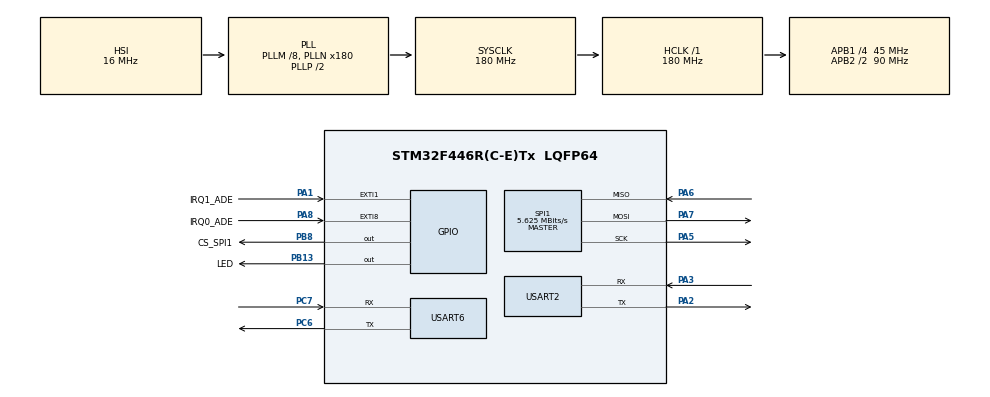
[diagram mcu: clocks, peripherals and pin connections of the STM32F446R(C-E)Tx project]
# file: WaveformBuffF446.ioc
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Dma.Request0=SPI1_RX
Dma.Request1=SPI1_TX
Dma.SPI1_RX.0.Direction=DMA_PERIPH_TO_MEMORY
Dma.SPI1_RX.0.FIFOMode=DMA_FIFOMODE_DISABLE
Dma.SPI1_RX.0.Instance=DMA2_Stream0
Dma.SPI1_RX.0.MemDataAlignment=DMA_MDATAALIGN_HALFWORD
Dma.SPI1_RX.0.MemInc=DMA_MINC_ENABLE
Dma.SPI1_RX.0.Mode=DMA_NORMAL
Dma.SPI1_RX.0.PeriphDataAlignment=DMA_PDATAALIGN_HALFWORD
Dma.SPI1_RX.0.PeriphInc=DMA_PINC_DISABLE
Dma.SPI1_RX.0.Priority=DMA_PRIORITY_LOW
Dma.SPI1_TX.1.Direction=DMA_MEMORY_TO_PERIPH
Dma.SPI1_TX.1.FIFOMode=DMA_FIFOMODE_DISABLE
Dma.SPI1_TX.1.Instance=DMA2_Stream3
Dma.SPI1_TX.1.MemDataAlignment=DMA_MDATAALIGN_HALFWORD
Dma.SPI1_TX.1.MemInc=DMA_MINC_ENABLE
Dma.SPI1_TX.1.Mode=DMA_NORMAL
Dma.SPI1_TX.1.PeriphDataAlignment=DMA_PDATAALIGN_HALFWORD
Dma.SPI1_TX.1.PeriphInc=DMA_PINC_DISABLE
Dma.SPI1_TX.1.Priority=DMA_PRIORITY_LOW
FREERTOS.Mutexes01=spiMutex,Static,spiMutexControlBlock,Available
FREERTOS.Queues01=xWaveformQueue,700,8,1,Dynamic,NULL,NULL
FREERTOS.Tasks01=enernetTask,24,128,StartEnernetTask,Default,NULL,Dynamic,NULL,NULL;uartTransmitTas,16,128,StartUartTransmitTask,Default,NULL,Dynamic,NULL,NULL;printWaveform,16,128,printWaveformTask,Default,NULL,Dynamic,NULL,NULL
FREERTOS.configUSE_NEWLIB_REENTRANT=1
Mcu.Family=STM32F4
Mcu.Name=STM32F446R(C-E)Tx
Mcu.Package=LQFP64
NVIC.DMA2_Stream0_IRQn=true\:5\:0\:false\:false\:true\:true\:false\:true\:true
NVIC.DMA2_Stream3_IRQn=true\:5\:0\:false\:false\:true\:true\:false\:true\:true
NVIC.EXTI9_5_IRQn=true\:5\:0\:false\:false\:true\:true\:true\:true\:true
NVIC.PriorityGroup=NVIC_PRIORITYGROUP_4
NVIC.TIM7_IRQn=true\:15\:0\:false\:false\:true\:false\:false\:true\:true
NVIC.TimeBase=TIM7_IRQn
NVIC.TimeBaseIP=TIM7
NVIC.USART2_IRQn=true\:5\:0\:false\:false\:true\:true\:true\:true\:true
NVIC.USART6_IRQn=true\:5\:0\:false\:false\:true\:true\:true\:true\:true
PA1.GPIO_Label=IRQ1_ADE
PA1.GPIO_ModeDefaultEXTI=GPIO_MODE_IT_FALLING
PA1.GPIO_PuPd=GPIO_PULLUP
PA1.Signal=GPXTI1
PA13.Mode=Serial_Wire
PA13.Signal=SYS_JTMS-SWDIO
PA14.Mode=Serial_Wire
PA14.Signal=SYS_JTCK-SWCLK
PA2.GPIO_ModeDefaultPP=GPIO_MODE_AF_PP
PA2.GPIO_PuPd=GPIO_NOPULL
PA2.GPIO_Speed=GPIO_SPEED_FREQ_VERY_HIGH
PA2.Mode=Asynchronous
PA2.Signal=USART2_TX
PA3.Mode=Asynchronous
PA3.Signal=USART2_RX
PA5.Mode=Full_Duplex_Master
PA5.Signal=SPI1_SCK
PA6.Mode=Full_Duplex_Master
PA6.Signal=SPI1_MISO
PA7.Mode=Full_Duplex_Master
PA7.Signal=SPI1_MOSI
PA8.GPIO_Label=IRQ0_ADE
PA8.GPIO_ModeDefaultEXTI=GPIO_MODE_IT_FALLING
PA8.GPIO_PuPd=GPIO_PULLUP
PA8.Signal=GPXTI8
PB13.GPIO_Label=LED
PB13.Signal=GPIO_Output
PB8.GPIO_Label=CS_SPI1
PB8.Signal=GPIO_Output
PC14-OSC32_IN.Mode=LSE-External-Oscillator
PC14-OSC32_IN.Signal=RCC_OSC32_IN
PC15-OSC32_OUT.Mode=LSE-External-Oscillator
PC15-OSC32_OUT.Signal=RCC_OSC32_OUT
PC6.Mode=Asynchronous
PC6.Signal=USART6_TX
PC7.Mode=Asynchronous
PC7.Signal=USART6_RX
PH0-OSC_IN.Mode=HSE-External-Oscillator
PH0-OSC_IN.Signal=RCC_OSC_IN
PH1-OSC_OUT.Mode=HSE-External-Oscillator
PH1-OSC_OUT.Signal=RCC_OSC_OUT
ProjectManager.HeapSize=0x200
ProjectManager.StackSize=0x400
ProjectManager.TargetToolchain=STM32CubeIDE
RCC.AHBFreq_Value=180000000
RCC.APB1CLKDivider=RCC_HCLK_DIV4
RCC.APB1Freq_Value=45000000
RCC.APB1TimFreq_Value=90000000
RCC.APB2CLKDivider=RCC_HCLK_DIV2
RCC.APB2Freq_Value=90000000
RCC.APB2TimFreq_Value=180000000
RCC.CortexFreq_Value=180000000
RCC.HCLKFreq_Value=180000000
RCC.PLLM=8
RCC.PLLN=180
RCC.SYSCLKFreq_VALUE=180000000
RCC.SYSCLKSource=RCC_SYSCLKSOURCE_PLLCLK
RCC.USBFreq_Value=180000000
RCC.VCOOutputFreq_Value=360000000
SPI1.BaudRatePrescaler=SPI_BAUDRATEPRESCALER_16
SPI1.CalculateBaudRate=5.625 MBits/s
SPI1.DataSize=SPI_DATASIZE_16BIT
SPI1.Direction=SPI_DIRECTION_2LINES
SPI1.Mode=SPI_MODE_MASTER
SPI1.VirtualType=VM_MASTER
USART2.VirtualMode=VM_ASYNC
USART6.VirtualMode=VM_ASYNC
VP_FREERTOS_VS_CMSIS_V2.Mode=CMSIS_V2
VP_SYS_VS_tim7.Mode=TIM7
board=custom

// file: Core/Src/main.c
/* USER CODE BEGIN Header */
/**
  ******************************************************************************
  * @file           : main.c
  * @brief          : Main program body
  ******************************************************************************
  * @attention
  *
  * Copyright (c) 2025 STMicroelectronics.
  * All rights reserved.
  *
  * This software is licensed under terms that can be found in the LICENSE file
  * in the root directory of this software component.
  * If no LICENSE file comes with this software, it is provided AS-IS.
  *
  ******************************************************************************
  */
/* USER CODE END Header */
#include "main.h"
#include "cmsis_os.h"

typedef StaticSemaphore_t osStaticMutexDef_t;

SPI_HandleTypeDef hspi1;
DMA_HandleTypeDef hdma_spi1_rx;
DMA_HandleTypeDef hdma_spi1_tx;

UART_HandleTypeDef huart2;
UART_HandleTypeDef huart6;

/* Definitions for enernetTask */
osThreadId_t enernetTaskHandle;
const osThreadAttr_t enernetTask_attributes = {
  .name = "enernetTask",
  .stack_size = 128 * 4,
  .priority = (osPriority_t) osPriorityNormal,
};
/* Definitions for uartTransmitTas */
osThreadId_t uartTransmitTasHandle;
const osThreadAttr_t uartTransmitTas_attributes = {
  .name = "uartTransmitTas",
  .stack_size = 128 * 4,
  .priority = (osPriority_t) osPriorityBelowNormal,
};
/* Definitions for printWaveform */
osThreadId_t printWaveformHandle;
const osThreadAttr_t printWaveform_attributes = {
  .name = "printWaveform",
  .stack_size = 128 * 4,
  .priority = (osPriority_t) osPriorityBelowNormal,
};
/* Definitions for xWaveformQueue */
osMessageQueueId_t xWaveformQueueHandle;
const osMessageQueueAttr_t xWaveformQueue_attributes = {
  .name = "xWaveformQueue"
};
/* Definitions for spiMutex */
osMutexId_t spiMutexHandle;
osStaticMutexDef_t spiMutexControlBlock;
const osMutexAttr_t spiMutex_attributes = {
  .name = "spiMutex",
  .cb_mem = &spiMutexControlBlock,
  .cb_size = sizeof(spiMutexControlBlock),
};

void SystemClock_Config(void);
static void MX_GPIO_Init(void);
static void MX_DMA_Init(void);
static void MX_USART2_UART_Init(void);
static void MX_SPI1_Init(void);
static void MX_USART6_UART_Init(void);
void StartEnernetTask(void *argument);
void StartUartTransmitTask(void *argument);
void printWaveformTask(void *argument);

/* USER CODE BEGIN 0 */

// Implemenação das funções para o STM32 do Display (uart diferente do console)
uint8_t uartRxByte;
uint8_t uartRxBuffer[UART_RX_BUFFER_SIZE];
volatile uint16_t uartRxHead = 0;
volatile uint16_t uartRxTail = 0;

void UART_StartReception(void)
{
	HAL_UART_Receive_IT(&huart6, &uartRxByte, 1);
}

void HAL_UART_RxCpltCallback(UART_HandleTypeDef *huart)
{
	if(huart->Instance == USART6)
	{
		uint16_t nextHead = (uartRxHead + 1) % UART_RX_BUFFER_SIZE;

		if(nextHead != uartRxTail)
		{
			uartRxBuffer[uartRxHead] = uartRxByte;
			uartRxHead = nextHead;
		}

		HAL_UART_Receive_IT(&huart6, &uartRxByte, 1);
	}
}

void lumen_write_bytes(uint8_t *data, uint32_t length) {
    HAL_UART_Transmit(&huart6, data, length, HAL_MAX_DELAY);
}

uint16_t lumen_get_byte(void) {
	if(uartRxHead == uartRxTail)
	{
		return DATA_NULL;
	}

	uint8_t byte = uartRxBuffer[uartRxTail];
	uartRxTail = (uartRxTail + 1) % UART_RX_BUFFER_SIZE;
	return byte;
}

//Transmissao para o console do PC
int _write(int fd, unsigned char *buf, int len) {
  if (fd == 1 || fd == 2) {                     // stdout or stderr ?
    HAL_UART_Transmit(&huart2, buf, len, 999);  // Print to the UART
  }
  return len;
}

/* USER CODE END 0 */

int main(void)
{

  /* MCU Configuration--------------------------------------------------------*/

  /* Reset of all peripherals, Initializes the Flash interface and the Systick. */
  HAL_Init();

  /* Configure the system clock */
  SystemClock_Config();

  /* Initialize all configured peripherals */
  MX_GPIO_Init();
  MX_DMA_Init();
  MX_USART2_UART_Init();
  MX_SPI1_Init();
  MX_USART6_UART_Init();
  /* USER CODE BEGIN 2 */
  UART_StartReception();
  /* USER CODE END 2 */

  /* Init scheduler */
  osKernelInitialize();
  /* Create the mutex(es) */
  /* creation of spiMutex */
  spiMutexHandle = osMutexNew(&spiMutex_attributes);

  /* Create the queue(s) */
  /* creation of xWaveformQueue */
  xWaveformQueueHandle = osMessageQueueNew (700, 8, &xWaveformQueue_attributes);

  /* Create the thread(s) */
  /* creation of enernetTask */
  enernetTaskHandle = osThreadNew(StartEnernetTask, NULL, &enernetTask_attributes);

  /* creation of uartTransmitTas */
  uartTransmitTasHandle = osThreadNew(StartUartTransmitTask, NULL, &uartTransmitTas_attributes);

  /* creation of printWaveform */
  printWaveformHandle = osThreadNew(printWaveformTask, NULL, &printWaveform_attributes);

  /* Start scheduler */
  osKernelStart();

  /* We should never get here as control is now taken by the scheduler */

  /* Infinite loop */
  while (1)
  {

  }
}

void SystemClock_Config(void)
{
  RCC_OscInitTypeDef RCC_OscInitStruct = {0};
  RCC_ClkInitTypeDef RCC_ClkInitStruct = {0};

  /** Configure the main internal regulator output voltage
  */
  __HAL_RCC_PWR_CLK_ENABLE();
  __HAL_PWR_VOLTAGESCALING_CONFIG(PWR_REGULATOR_VOLTAGE_SCALE1);

  /** Initializes the RCC Oscillators according to the specified parameters
  * in the RCC_OscInitTypeDef structure.
  */
  RCC_OscInitStruct.OscillatorType = RCC_OSCILLATORTYPE_HSI;
  RCC_OscInitStruct.HSIState = RCC_HSI_ON;
  RCC_OscInitStruct.HSICalibrationValue = RCC_HSICALIBRATION_DEFAULT;
  RCC_OscInitStruct.PLL.PLLState = RCC_PLL_ON;
  RCC_OscInitStruct.PLL.PLLSource = RCC_PLLSOURCE_HSI;
  RCC_OscInitStruct.PLL.PLLM = 8;
  RCC_OscInitStruct.PLL.PLLN = 180;
  RCC_OscInitStruct.PLL.PLLP = RCC_PLLP_DIV2;
  RCC_OscInitStruct.PLL.PLLQ = 2;
  RCC_OscInitStruct.PLL.PLLR = 2;
  if (HAL_RCC_OscConfig(&RCC_OscInitStruct) != HAL_OK)
  {
    Error_Handler();
  }

  /** Activate the Over-Drive mode
  */
  if (HAL_PWREx_EnableOverDrive() != HAL_OK)
  {
    Error_Handler();
  }

  /** Initializes the CPU, AHB and APB buses clocks
  */
  RCC_ClkInitStruct.ClockType = RCC_CLOCKTYPE_HCLK|RCC_CLOCKTYPE_SYSCLK
                              |RCC_CLOCKTYPE_PCLK1|RCC_CLOCKTYPE_PCLK2;
  RCC_ClkInitStruct.SYSCLKSource = RCC_SYSCLKSOURCE_PLLCLK;
  RCC_ClkInitStruct.AHBCLKDivider = RCC_SYSCLK_DIV1;
  RCC_ClkInitStruct.APB1CLKDivider = RCC_HCLK_DIV4;
  RCC_ClkInitStruct.APB2CLKDivider = RCC_HCLK_DIV2;

  if (HAL_RCC_ClockConfig(&RCC_ClkInitStruct, FLASH_LATENCY_5) != HAL_OK)
  {
    Error_Handler();
  }
}

static void MX_SPI1_Init(void)
{

  /* SPI1 parameter configuration*/
  hspi1.Instance = SPI1;
  hspi1.Init.Mode = SPI_MODE_MASTER;
  hspi1.Init.Direction = SPI_DIRECTION_2LINES;
  hspi1.Init.DataSize = SPI_DATASIZE_16BIT;
  hspi1.Init.CLKPolarity = SPI_POLARITY_LOW;
  hspi1.Init.CLKPhase = SPI_PHASE_1EDGE;
  hspi1.Init.NSS = SPI_NSS_SOFT;
  hspi1.Init.BaudRatePrescaler = SPI_BAUDRATEPRESCALER_16;
  hspi1.Init.FirstBit = SPI_FIRSTBIT_MSB;
  hspi1.Init.TIMode = SPI_TIMODE_DISABLE;
  hspi1.Init.CRCCalculation = SPI_CRCCALCULATION_DISABLE;
  hspi1.Init.CRCPolynomial = 10;
  if (HAL_SPI_Init(&hspi1) != HAL_OK)
  {
    Error_Handler();
  }

}

static void MX_USART2_UART_Init(void)
{

  huart2.Instance = USART2;
  huart2.Init.BaudRate = 115200;
  huart2.Init.WordLength = UART_WORDLENGTH_8B;
  huart2.Init.StopBits = UART_STOPBITS_1;
  huart2.Init.Parity = UART_PARITY_NONE;
  huart2.Init.Mode = UART_MODE_TX_RX;
  huart2.Init.HwFlowCtl = UART_HWCONTROL_NONE;
  huart2.Init.OverSampling = UART_OVERSAMPLING_16;
  if (HAL_UART_Init(&huart2) != HAL_OK)
  {
    Error_Handler();
  }

}

static void MX_USART6_UART_Init(void)
{

  huart6.Instance = USART6;
  huart6.Init.BaudRate = 115200;
  huart6.Init.WordLength = UART_WORDLENGTH_8B;
  huart6.Init.StopBits = UART_STOPBITS_1;
  huart6.Init.Parity = UART_PARITY_NONE;
  huart6.Init.Mode = UART_MODE_TX_RX;
  huart6.Init.HwFlowCtl = UART_HWCONTROL_NONE;
  huart6.Init.OverSampling = UART_OVERSAMPLING_16;
  if (HAL_UART_Init(&huart6) != HAL_OK)
  {
    Error_Handler();
  }

}

static void MX_DMA_Init(void)
{

  /* DMA controller clock enable */
  __HAL_RCC_DMA2_CLK_ENABLE();

  /* DMA interrupt init */
  /* DMA2_Stream0_IRQn interrupt configuration */
  HAL_NVIC_SetPriority(DMA2_Stream0_IRQn, 5, 0);
  HAL_NVIC_EnableIRQ(DMA2_Stream0_IRQn);
  /* DMA2_Stream3_IRQn interrupt configuration */
  HAL_NVIC_SetPriority(DMA2_Stream3_IRQn, 5, 0);
  HAL_NVIC_EnableIRQ(DMA2_Stream3_IRQn);

}

static void MX_GPIO_Init(void)
{
  GPIO_InitTypeDef GPIO_InitStruct = {0};

  /* GPIO Ports Clock Enable */
  __HAL_RCC_GPIOC_CLK_ENABLE();
  __HAL_RCC_GPIOH_CLK_ENABLE();
  __HAL_RCC_GPIOA_CLK_ENABLE();
  __HAL_RCC_GPIOB_CLK_ENABLE();

  /*Configure GPIO pin Output Level */
  HAL_GPIO_WritePin(GPIOB, LED_Pin|CS_SPI1_Pin, GPIO_PIN_RESET);

  /*Configure GPIO pins : IRQ1_ADE_Pin IRQ0_ADE_Pin */
  GPIO_InitStruct.Pin = IRQ1_ADE_Pin|IRQ0_ADE_Pin;
  GPIO_InitStruct.Mode = GPIO_MODE_IT_FALLING;
  GPIO_InitStruct.Pull = GPIO_PULLUP;
  HAL_GPIO_Init(GPIOA, &GPIO_InitStruct);

  /*Configure GPIO pins : LED_Pin CS_SPI1_Pin */
  GPIO_InitStruct.Pin = LED_Pin|CS_SPI1_Pin;
  GPIO_InitStruct.Mode = GPIO_MODE_OUTPUT_PP;
  GPIO_InitStruct.Pull = GPIO_NOPULL;
  GPIO_InitStruct.Speed = GPIO_SPEED_FREQ_LOW;
  HAL_GPIO_Init(GPIOB, &GPIO_InitStruct);

  /* EXTI interrupt init*/
  HAL_NVIC_SetPriority(EXTI9_5_IRQn, 5, 0);
  HAL_NVIC_EnableIRQ(EXTI9_5_IRQn);

}

void StartEnernetTask(void *argument)
{
  /* USER CODE BEGIN 5 */
  /* Infinite loop */
  ADE9000_Init();
  for(;;)
  {
	Waveform_Main();
    osDelay(1);
  }
  /* USER CODE END 5 */
}

void StartUartTransmitTask(void *argument)
{
  /* USER CODE BEGIN StartUartTransmitTask */
  /* Infinite loop */
  for(;;)
  {
	UartTransmit();
    osDelay(1);
  }
  /* USER CODE END StartUartTransmitTask */
}

void printWaveformTask(void *argument)
{
  /* USER CODE BEGIN printWaveformTask */
  /* Infinite loop */
  for(;;)
  {
	mainPrint_Waveform();
    osDelay(1);
  }
  /* USER CODE END printWaveformTask */
}

void HAL_TIM_PeriodElapsedCallback(TIM_HandleTypeDef *htim)
{
  if (htim->Instance == TIM7)
  {
    HAL_IncTick();
  }
}

void Error_Handler(void)
{
  __disable_irq();
  while (1)
  {
  }
}
